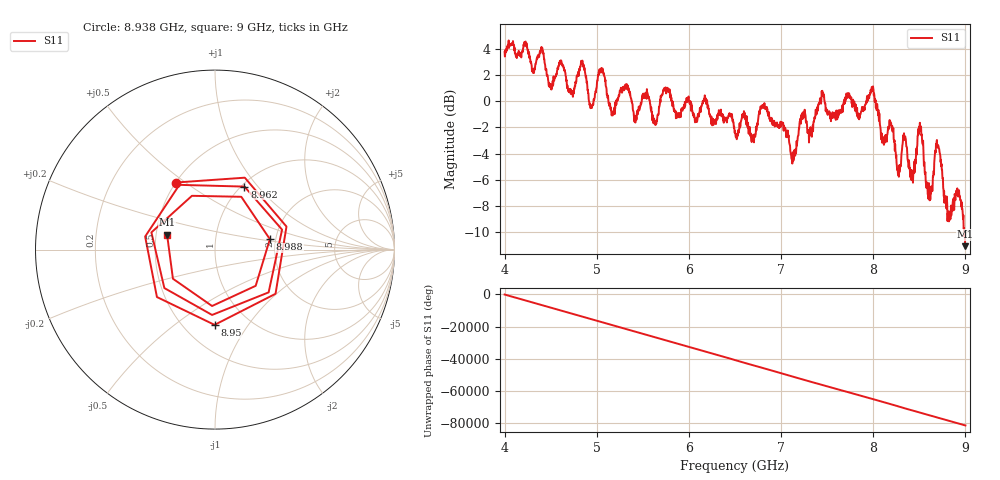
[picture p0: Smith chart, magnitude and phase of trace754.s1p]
! Created with skrf 1.8.0 (http://scikit-rf.org).
# Hz S RI R 50.0
!freq ReS11 ImS11
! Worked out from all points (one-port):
!   1601 points, 4 GHz to 9 GHz, reference 50 ohm
!   lowest |S11| = -11.1 dB at 9 GHz (marker M1), VSWR 1.78, Z = 28.6 + j5.16 ohm
!   |S11| at or under -10 dB: 8.986837 GHz to end of sweep
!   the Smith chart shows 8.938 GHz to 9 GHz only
!   S11 on the Smith chart (normalised r, x): 8.938 GHz: 0.50, +0.46; 8.95 GHz: 0.70, -0.71; 8.962 GHz: 1.03, +0.85; 8.988 GHz: 1.86, +0.24; 9 GHz: 0.57, +0.10
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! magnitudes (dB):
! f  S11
! 4 GHz  3.7
! 4.503 GHz  0.9
! 4.625 GHz  2.8
! 4.725 GHz  0.6
! 4.847 GHz  2.8
! 4.938 GHz  -0.5
! 5.044 GHz  2.2
! 5.159 GHz  -0.9
! 5.25 GHz  0.8
! 5.875 GHz  -1.2
! 6.5 GHz  -2.3
! 6.819 GHz  -0.2
! 7.125 GHz  -4.0
! 7.441 GHz  0.8
! 7.75 GHz  0.4
! 7.988 GHz  1.1
! 8.275 GHz  -5.4
! 8.375 GHz  -4.5
! 8.425 GHz  -5.6
! 8.506 GHz  -1.7
! 8.6 GHz  -7.0
! 8.697 GHz  -3.4
! 8.812 GHz  -8.8
! 8.938 GHz  -7.3
! 8.95 GHz  -7.5
! 8.962 GHz  -8.2
! 8.988 GHz  -10.1
! 9 GHz  -11.1
